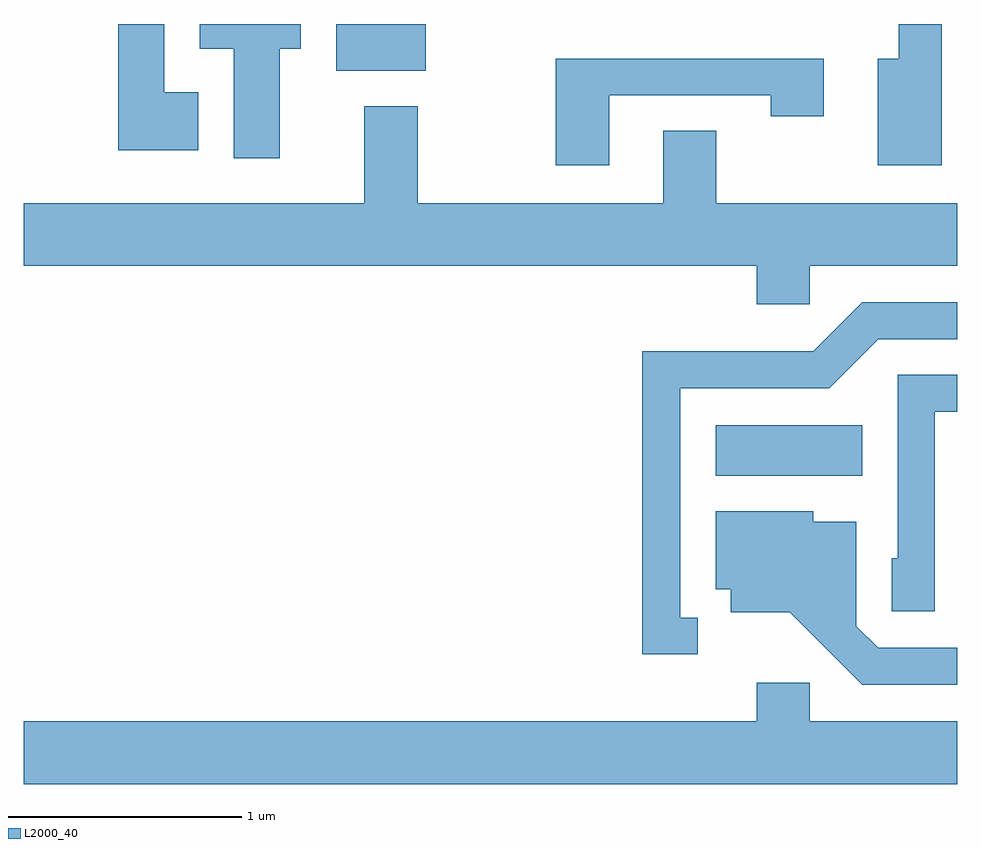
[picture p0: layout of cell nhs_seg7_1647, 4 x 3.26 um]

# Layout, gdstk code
import gdstk
lib = gdstk.Library(unit=1e-6, precision=1e-09)
def R(c, l, rs):  # rectangles x0, y0, x1, y1
    for r in rs: c.add(gdstk.rectangle(r[:2], r[2:], *l))
def P(c, l, *ps):  # polygons
    for p in ps: c.add(gdstk.Polygon(p, *l))
L2000_40 = (2000, 40)

nhs_seg7_1647 = lib.new_cell('nhs_seg7_1647')
R(nhs_seg7_1647, L2000_40, [(238.576,1702.316,239.204,1702.534), (236.951,1704.051,237.334,1704.252)])
P(nhs_seg7_1647, L2000_40, [(236.709,1704.146),(236.799,1704.146),(236.799,1704.252),(236.366,1704.252),(236.366,1704.146),(236.511,1704.146),(236.511,1703.676),(236.709,1703.676)],
  [(236.359,1703.959),(236.214,1703.959),(236.214,1704.252),(236.016,1704.252),(236.016,1703.711),(236.359,1703.711)],
  [(239.544,1704.252),(239.361,1704.252),(239.361,1704.104),(239.271,1704.104),(239.271,1703.646),(239.544,1703.646)],
  [(238.119,1703.946),(238.811,1703.946),(238.811,1703.856),(239.039,1703.856),(239.039,1704.104),(237.891,1704.104),(237.891,1703.646),(238.119,1703.646)],
  [(238.979,1703.216),(239.611,1703.216),(239.611,1703.484),(238.579,1703.484),(238.579,1703.794),(238.351,1703.794),(238.351,1703.484),(237.299,1703.484),(237.299,1703.899),(237.071,1703.899),(237.071,1703.484),(235.611,1703.484),(235.611,1703.216),(238.751,1703.216),(238.751,1703.051),(238.979,1703.051)],
  [(238.498,1701.709),(238.424,1701.709),(238.424,1702.691),(239.062,1702.691),(239.272,1702.901),(239.611,1702.901),(239.611,1703.059),(239.204,1703.059),(238.994,1702.849),(238.261,1702.849),(238.261,1701.551),(238.498,1701.551)],
  [(239.514,1702.591),(239.611,1702.591),(239.611,1702.749),(239.356,1702.749),(239.356,1701.964),(239.331,1701.964),(239.331,1701.736),(239.514,1701.736)],
  [(239.611,1701.579),(239.272,1701.579),(239.179,1701.672),(239.179,1702.119),(238.994,1702.119),(238.994,1702.164),(238.576,1702.164),(238.576,1701.831),(238.641,1701.831),(238.641,1701.731),(238.894,1701.731),(239.204,1701.421),(239.611,1701.421)],
  [(239.611,1701.264),(238.979,1701.264),(238.979,1701.429),(238.751,1701.429),(238.751,1701.264),(235.611,1701.264),(235.611,1700.996),(239.611,1700.996)])

lib.write_gds('nhs_seg7_1647.gds')
